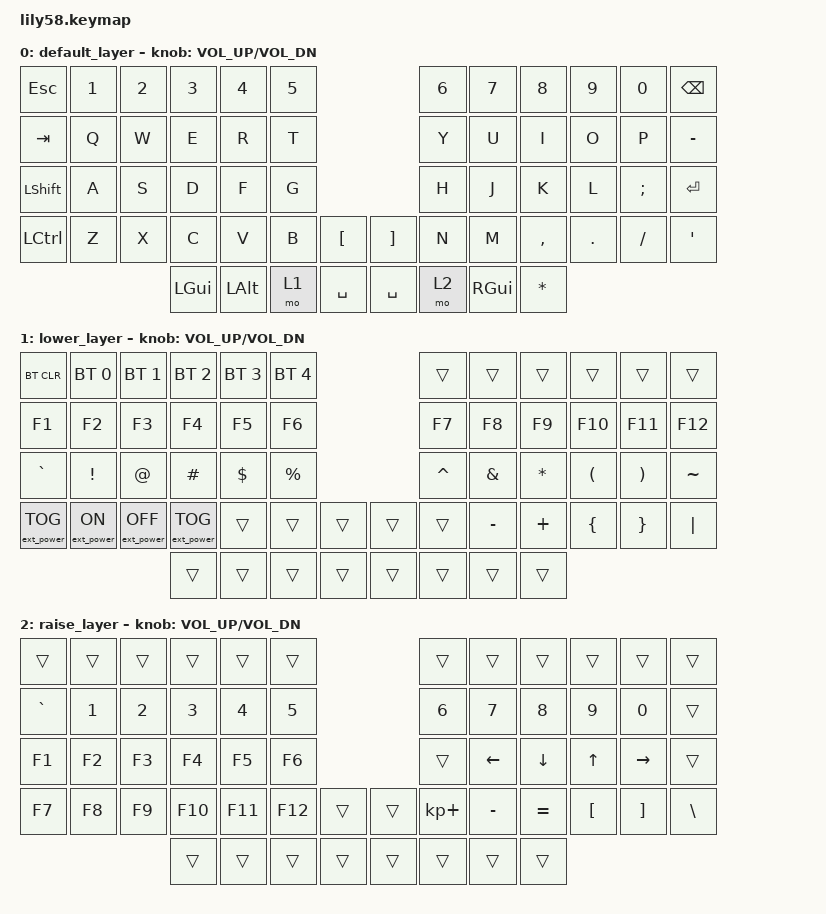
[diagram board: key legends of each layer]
/*
 * Copyright (c) 2020 The ZMK Contributors
 *
 * SPDX-License-Identifier: MIT
 */

#include <behaviors.dtsi>
#include <dt-bindings/zmk/keys.h>
#include <dt-bindings/zmk/bt.h>
#include <dt-bindings/zmk/ext_power.h>

/ {
    combos {
        compatible = "zmk,combos";

        combo_soft_off {
            timeout-ms = <50>;
            key-positions = <12 42>; // TAB + LOWER
            bindings = <&soft_off>;
        };
    };

    keymap {
        compatible = "zmk,keymap";

        default_layer {
// ------------------------------------------------------------------------------------------------------------
// |  ESC  |  1  |  2  |  3   |  4   |  5   |                   |  6   |  7    |  8    |  9   |   0   |  BSPC |
// |  TAB  |  Q  |  W  |  E   |  R   |  T   |                   |  Y   |  U    |  I    |  O   |   P   |  -    |
// | SHIFT |  A  |  S  |  D   |  F   |  G   |                   |  H   |  J    |  K    |  L   |   ;   | ENTER |
// |  CTRL |  Z  |  X  |  C   |  V   |  B   |   "["  |  |  "]"  |  N   |  M    |  ,    |  .   |   /   |   '   |
//                     | GUI  | ALT  | LOWER|  SPACE |  | SPACE | RAISE| GUI  | *    |
            bindings = <
&kp ESC   &kp N1 &kp N2 &kp N3   &kp N4   &kp N5                     &kp N6 &kp N7   &kp N8    &kp N9  &kp N0   &kp BSPC
&kp TAB   &kp Q  &kp W  &kp E    &kp R    &kp T                      &kp Y  &kp U    &kp I     &kp O   &kp P    &kp MINUS
&kp LSHIFT &kp A  &kp S  &kp D    &kp F    &kp G                      &kp H  &kp J    &kp K     &kp L   &kp SEMI &kp RET
&kp LCTRL &kp Z  &kp X  &kp C    &kp V    &kp B  &kp LBKT   &kp RBKT &kp N  &kp M    &kp COMMA &kp DOT &kp FSLH &kp SQT
                        &kp LGUI &kp LALT &mo 1  &kp SPACE  &kp SPACE  &mo 2  &kp RGUI &kp ASTRK
            >;

            sensor-bindings = <&inc_dec_kp C_VOL_UP C_VOL_DN>;
        };

        lower_layer {
// ------------------------------------------------------------------------------------------------------------
// | BTCLR | BT1 | BT2 |  BT3 |  BT4 |  BT5 |                   |      |       |       |      |       |       |
// |  F1   |  F2 |  F3 |  F4  |  F5  |  F6  |                   |  F7  |  F8   |  F9   |  F10 |  F11  |  F12  |
// |   `   |  !  |  @  |  #   |  $   |  %   |                   |  ^   |  &    |  *    |  (   |   )   |   ~   |
// |  EXT  |     |     |      |      |      |        |  |       |      |  _    |  +    |  {   |   }   |  "|"  |
//                     |      |      |      |        |  |       |      |       |       |
            bindings = <
&bt BT_CLR &bt BT_SEL 0     &bt BT_SEL 1      &bt BT_SEL 2      &bt BT_SEL 3 &bt BT_SEL 4                 &trans    &trans    &trans    &trans    &trans    &trans
&kp F1     &kp F2           &kp F3            &kp F4            &kp F5       &kp F6                       &kp F7    &kp F8    &kp F9    &kp F10   &kp F11   &kp F12
&kp GRAVE  &kp EXCL         &kp AT            &kp HASH          &kp DOLLAR   &kp PRCNT                    &kp CARET &kp AMPS  &kp ASTRK &kp LPAR  &kp RPAR  &kp TILDE
&ext_power EP_TOG     &ext_power EP_ON &ext_power EP_OFF &ext_power EP_TOG &trans       &trans    &trans   &trans    &trans    &kp MINUS &kp PLUS  &kp LBRC  &kp RBRC  &kp PIPE
                                              &trans            &trans       &trans    &trans   &trans    &trans    &trans    &trans
            >;

            sensor-bindings = <&inc_dec_kp C_VOL_UP C_VOL_DN>;
        };

        raise_layer {
// ------------------------------------------------------------------------------------------------------------
// |       |     |     |      |      |      |                   |      |       |       |      |       |       |
// |   `   |  1  |  2  |  3   |  4   |  5   |                   |  6   |   7   |   8   |  9   |   0   |       |
// |   F1  |  F2 |  F3 |  F4  |  F5  |  F6  |                   |      |   <-  |   v   |  ^   |  ->   |       |
// |   F7  |  F8 |  F9 |  F10 |  F11 |  F12 |        |  |       |  +   |   -   |   =   |  [   |   ]   |   \   |
//                     |      |      |      |        |  |       |      |       |       |
            bindings = <
&trans    &trans &trans &trans  &trans  &trans                       &trans      &trans    &trans    &trans   &trans    &trans
&kp GRAVE &kp N1 &kp N2 &kp N3  &kp N4  &kp N5                       &kp N6      &kp N7    &kp N8    &kp N9   &kp N0    &trans
&kp F1    &kp F2 &kp F3 &kp F4  &kp F5  &kp F6                       &trans      &kp LEFT  &kp DOWN  &kp UP   &kp RIGHT &trans
&kp F7    &kp F8 &kp F9 &kp F10 &kp F11 &kp F12   &trans   &trans    &kp KP_PLUS &kp MINUS &kp EQUAL &kp LBKT &kp RBKT  &kp BSLH
                        &trans  &trans  &trans    &trans   &trans    &trans      &trans    &trans
            >;

            sensor-bindings = <&inc_dec_kp C_VOL_UP C_VOL_DN>;
        };
    };
};
